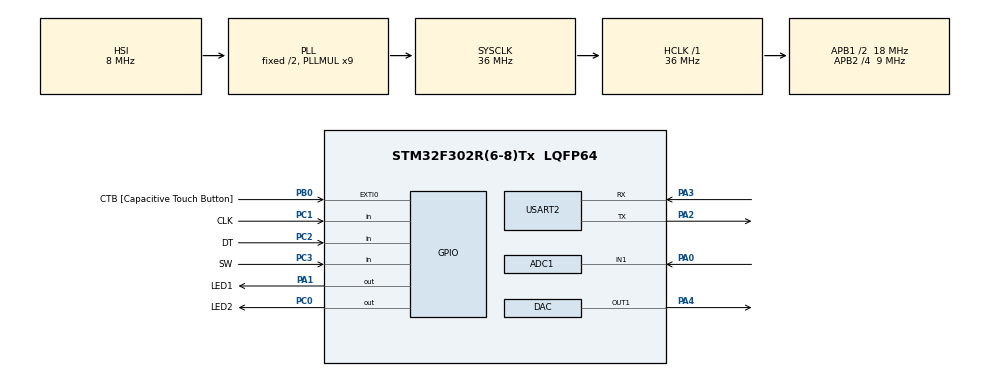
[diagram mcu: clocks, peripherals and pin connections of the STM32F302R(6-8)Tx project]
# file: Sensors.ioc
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ADC1.Channel-0\#ChannelRegularConversion=ADC_CHANNEL_1
ADC1.ContinuousConvMode=DISABLE
ADC1.NbrOfConversion=1
ADC1.NbrOfConversionFlag=1
ADC1.Offset-0\#ChannelRegularConversion=0
ADC1.OffsetNumber-0\#ChannelRegularConversion=ADC_OFFSET_NONE
ADC1.Rank-0\#ChannelRegularConversion=1
ADC1.SamplingTime-0\#ChannelRegularConversion=ADC_SAMPLETIME_1CYCLE_5
ADC1.SequencerNbRanks=1
ADC1.master=1
Mcu.Family=STM32F3
Mcu.Name=STM32F302R(6-8)Tx
Mcu.Package=LQFP64
NVIC.EXTI0_IRQn=true\:0\:0\:false\:false\:true\:true\:true\:true
NVIC.PriorityGroup=NVIC_PRIORITYGROUP_4
PA0.Mode=IN1-Single-Ended
PA0.Signal=ADC1_IN1
PA1.GPIO_Label=LED1
PA1.Signal=GPIO_Output
PA2.Mode=Asynchronous
PA2.Signal=USART2_TX
PA3.Mode=Asynchronous
PA3.Signal=USART2_RX
PA4.Signal=COMP_DAC1_group
PB0.GPIO_Label=CTB [Capacitive Touch Button]
PB0.GPIO_PuPd=GPIO_PULLUP
PB0.Signal=GPXTI0
PC0.GPIO_Label=LED2
PC0.Signal=GPIO_Output
PC1.GPIO_Label=CLK
PC1.GPIO_PuPd=GPIO_PULLUP
PC1.Signal=GPIO_Input
PC2.GPIO_Label=DT
PC2.GPIO_PuPd=GPIO_PULLUP
PC2.Signal=GPIO_Input
PC3.GPIO_Label=SW
PC3.GPIO_PuPd=GPIO_PULLUP
PC3.Signal=GPIO_Input
ProjectManager.HeapSize=0x200
ProjectManager.StackSize=0x400
ProjectManager.TargetToolchain=STM32CubeIDE
RCC.AHBFreq_Value=36000000
RCC.APB1CLKDivider=RCC_HCLK_DIV2
RCC.APB1Freq_Value=18000000
RCC.APB1TimFreq_Value=36000000
RCC.APB2CLKDivider=RCC_HCLK_DIV4
RCC.APB2Freq_Value=9000000
RCC.APB2TimFreq_Value=18000000
RCC.CortexFreq_Value=36000000
RCC.HCLKFreq_Value=36000000
RCC.HSE_VALUE=8000000
RCC.HSI_VALUE=8000000
RCC.LSE_VALUE=32768
RCC.PLLMUL=RCC_PLL_MUL9
RCC.SYSCLKFreq_VALUE=36000000
RCC.SYSCLKSourceVirtual=RCC_SYSCLKSOURCE_PLLCLK
RCC.USBFreq_Value=36000000
SH.COMP_DAC1_group.0=DAC_OUT1,DAC_OUT1
USART2.VirtualMode-Asynchronous=VM_ASYNC
board=custom

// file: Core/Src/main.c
/* USER CODE BEGIN Header */
/**
  ******************************************************************************
  * @file           : main.c
  * @brief          : Main program body
  ******************************************************************************
  * @attention
  *
  * Copyright (c) 2024 STMicroelectronics.
  * All rights reserved.
  *
  * This software is licensed under terms that can be found in the LICENSE file
  * in the root directory of this software component.
  * If no LICENSE file comes with this software, it is provided AS-IS.
  *
  ******************************************************************************
  */
/* USER CODE END Header */
#include "main.h"

/* USER CODE BEGIN Includes */
#include <stdio.h>
#include <stdbool.h>
/* USER CODE END Includes */

ADC_HandleTypeDef hadc1;

DAC_HandleTypeDef hdac;

UART_HandleTypeDef huart2;

/* USER CODE BEGIN PV */
char message[40];

double raw = 0.0;
double max = 0.0;
bool switched = false;
uint32_t raws[2];
int count = 0;

int previous_pin, current_pin;
/* USER CODE END PV */

void SystemClock_Config(void);
static void MX_GPIO_Init(void);
static void MX_ADC1_Init(void);
static void MX_USART2_UART_Init(void);
static void MX_DAC_Init(void);

int main(void)
{

  /* MCU Configuration--------------------------------------------------------*/

  /* Reset of all peripherals, Initializes the Flash interface and the Systick. */
  HAL_Init();

  /* Configure the system clock */
  SystemClock_Config();

  /* Initialize all configured peripherals */
  MX_GPIO_Init();
  MX_ADC1_Init();
  MX_USART2_UART_Init();
  MX_DAC_Init();
  /* USER CODE BEGIN 2 */
//  int color = 1000;
  HAL_DAC_Init(&hdac);
  HAL_DAC_Start(&hdac, DAC_CHANNEL_1);

  previous_pin = HAL_GPIO_ReadPin (CLK_GPIO_Port, CLK_Pin);

//  HAL_ADC_Start_DMA(&hadc1, raws, 2);
  /* USER CODE END 2 */

  /* Infinite loop */
  /* USER CODE BEGIN WHILE */
  while (1)
  {
	  if (!HAL_GPIO_ReadPin (SW_GPIO_Port, SW_Pin)) {
		  count = 0;
		  HAL_GPIO_WritePin(LED1_GPIO_Port, LED1_Pin, GPIO_PIN_RESET);
		  HAL_GPIO_WritePin(LED2_GPIO_Port, LED2_Pin, GPIO_PIN_RESET);
		  sprintf (message, "%d\r\n", count);
		  HAL_UART_Transmit (&huart2, (uint8_t*) message, 40, 100);
	  }

	  current_pin = HAL_GPIO_ReadPin (CLK_GPIO_Port, CLK_Pin);
	  if (current_pin != previous_pin) {
		  if (HAL_GPIO_ReadPin (DT_GPIO_Port, DT_Pin) != current_pin) {
			  if (!switched) {
				  switched = true;
				  count++;
			  } else {
				  switched = false;
			  }
			  HAL_GPIO_WritePin(LED1_GPIO_Port, LED1_Pin, GPIO_PIN_SET);
			  HAL_GPIO_WritePin(LED2_GPIO_Port, LED2_Pin, GPIO_PIN_RESET);
		  } else {
			  if (!switched) {
				  switched = true;
				  count--;
			  } else {
				  switched = false;
			  }
			  HAL_GPIO_WritePin(LED1_GPIO_Port, LED1_Pin, GPIO_PIN_RESET);
			  HAL_GPIO_WritePin(LED2_GPIO_Port, LED2_Pin, GPIO_PIN_SET);
		  }
		  sprintf (message, "%d\r\n", count);
		  HAL_UART_Transmit (&huart2, (uint8_t*) message, 40, 100);

		  previous_pin = current_pin;
	  }

//	  if (!HAL_GPIO_ReadPin (CLK_GPIO_Port, CLK_Pin)) {
////		  sprintf (message, "WHYY\r\n");
////		  HAL_UART_Transmit (&huart2, (uint8_t*) message, 40, 100);
//		  current_pin = HAL_GPIO_ReadPin (CLK_GPIO_Port, CLK_Pin);
//		  		  if (current_pin != previous_pin) {
//					  if (HAL_GPIO_ReadPin (DT_GPIO_Port, DT_Pin) != current_pin) {
//						  count++;
//					  } else {
//						  count--;
//					  }
//					  sprintf (message, "%d\r\n", count);
//					  HAL_UART_Transmit (&huart2, (uint8_t*) message, 40, 100);
//
//					  previous_pin = current_pin;
//		  		  }
//	  }

//	  sprintf(message, "%d\r\n", HAL_GPIO_ReadPin (CLK_GPIO_Port, CLK_Pin));
//	    HAL_UART_Transmit (&huart2, (uint8_t*) message, 40, 100);
//	  if (!HAL_GPIO_ReadPin (DT_GPIO_Port, DT_Pin)) {
////		  sprintf (message, "no shot\r\n");
////		  HAL_UART_Transmit (&huart2, (uint8_t*) message, 40, 100);
//	  }

//	  if (HAL_GPIO_ReadPin (CLK_GPIO_Port, CLK_Pin)) {
//		  if (switched) {
//			  switched = false;
//
//
//		  }
//
//
////		  if (!HAL_GPIO_ReadPin (DT_GPIO_Port, DT_Pin)) {
////			  count++;
////			  HAL_GPIO_WritePin(LED1_GPIO_Port, LED1_Pin, GPIO_PIN_SET);
////			  HAL_GPIO_WritePin(LED2_GPIO_Port, LED2_Pin, GPIO_PIN_RESET);
////		  } else {
////			  count--;
////			  HAL_GPIO_WritePin(LED1_GPIO_Port, LED1_Pin, GPIO_PIN_RESET);
////			  HAL_GPIO_WritePin(LED2_GPIO_Port, LED2_Pin, GPIO_PIN_SET);
////		  }
////		  sprintf (message, "%d\r\n", count);
////		  HAL_UART_Transmit (&huart2, (uint8_t*) message, 40, 100);
//	  } else {
//		  switched = true;
////		  sprintf (message, "AHHHHHHHHHHHHHHH\r\n");
////		  		  HAL_UART_Transmit (&huart2, (uint8_t*) message, 40, 100);
//	  }

//	  sprintf (message, "%d\r\n", count);
//	  HAL_UART_Transmit (&huart2, (uint8_t*) message, 40, 100);

    /* USER CODE END WHILE */

    /* USER CODE BEGIN 3 */
	  // WHITE LED
//	  HAL_GPIO_WritePin(LED_GPIO_Port, LED_Pin, GPIO_PIN_SET);
//	  HAL_Delay(500);
//	  HAL_GPIO_WritePin(LED_GPIO_Port, LED_Pin, GPIO_PIN_RESET);
//	  HAL_Delay(500);

	  //RGB LED
//	  while (color <= 3000) {
//		  HAL_DAC_SetValue(&hdac, DAC_CHANNEL_1, DAC_ALIGN_12B_R, color++);
//		  sprintf(message, "%d\r\n", color);
//		  HAL_UART_Transmit(&huart2, (uint8_t *) message, 20, 100);
//		  HAL_Delay(5);
//	  }
//
//	  while (color >= 1000) {
//		  HAL_DAC_SetValue(&hdac, DAC_CHANNEL_1, DAC_ALIGN_12B_R, color--);
//		  sprintf(message, "%d\r\n", color);
//		  HAL_UART_Transmit(&huart2, (uint8_t *) message, 20, 100);
//		  HAL_Delay(5);
//	  }

//	  if (HAL_GPIO_ReadPin (CTB1_GPIO_Port, CTB1_Pin)) {
//		  if (!pressed) {
//			  count++;
//			  pressed = 1;
//		  }
////		  sprintf(message, "WOAH\r\n");
////		  HAL_UART_Transmit(&huart2, (uint8_t *) message, 20, 100);
//	  } else {
//		  pressed = 0;
//	  }

//	  HAL_ADC_Start(&hadc1);
//	  HAL_ADC_PollForConversion(&hadc1, 100);
//	  raw = ((double) HAL_ADC_GetValue(&hadc1) * -1) + 4095;
//
//	  HAL_DAC_SetValue(&hdac, DAC_CHANNEL_1, DAC_ALIGN_12B_R, raw);
//
//	  sprintf (message, "%f\r\n", raw);
//	  HAL_UART_Transmit (&huart2, (uint8_t*) message, 40, 100);

//	  HAL_ADC_Start_DMA(&hadc1, raws, 2);
//	  HAL_ADC_PollForConversion(&hadc1, 100);
//	  raw = (double) HAL_ADC_GetValue(&hadc1);
////	  raw = ((double) HAL_ADC_GetValue(&hadc1) * 0.0683761) + 2960;
//	  if (raw > max)	max = raw;
//	  HAL_DAC_SetValue(&hdac, DAC_CHANNEL_1, DAC_ALIGN_12B_R, raw);
//	  raw = ((500 * raw) / 1024) / 10;
//	  raw = raw / 100;

//HAL_ADC_Start_DMA(&hadc1, raws, 2);
//	  sprintf(message, "%f\r\n", (raw / 4095) * 16.5);
//	  sprintf(message, "%d  %d  %d\r\n", count, raws[0], raws[1]);
//	  HAL_UART_Transmit(&huart2, (uint8_t *) message, 40, 100);
  }
  /* USER CODE END 3 */
}

void SystemClock_Config(void)
{
  RCC_OscInitTypeDef RCC_OscInitStruct = {0};
  RCC_ClkInitTypeDef RCC_ClkInitStruct = {0};
  RCC_PeriphCLKInitTypeDef PeriphClkInit = {0};

  /** Initializes the RCC Oscillators according to the specified parameters
  * in the RCC_OscInitTypeDef structure.
  */
  RCC_OscInitStruct.OscillatorType = RCC_OSCILLATORTYPE_HSI;
  RCC_OscInitStruct.HSIState = RCC_HSI_ON;
  RCC_OscInitStruct.HSICalibrationValue = RCC_HSICALIBRATION_DEFAULT;
  RCC_OscInitStruct.PLL.PLLState = RCC_PLL_ON;
  RCC_OscInitStruct.PLL.PLLSource = RCC_PLLSOURCE_HSI;
  RCC_OscInitStruct.PLL.PLLMUL = RCC_PLL_MUL9;
  if (HAL_RCC_OscConfig(&RCC_OscInitStruct) != HAL_OK)
  {
    Error_Handler();
  }

  /** Initializes the CPU, AHB and APB buses clocks
  */
  RCC_ClkInitStruct.ClockType = RCC_CLOCKTYPE_HCLK|RCC_CLOCKTYPE_SYSCLK
                              |RCC_CLOCKTYPE_PCLK1|RCC_CLOCKTYPE_PCLK2;
  RCC_ClkInitStruct.SYSCLKSource = RCC_SYSCLKSOURCE_PLLCLK;
  RCC_ClkInitStruct.AHBCLKDivider = RCC_SYSCLK_DIV1;
  RCC_ClkInitStruct.APB1CLKDivider = RCC_HCLK_DIV2;
  RCC_ClkInitStruct.APB2CLKDivider = RCC_HCLK_DIV4;

  if (HAL_RCC_ClockConfig(&RCC_ClkInitStruct, FLASH_LATENCY_1) != HAL_OK)
  {
    Error_Handler();
  }
  PeriphClkInit.PeriphClockSelection = RCC_PERIPHCLK_ADC1;
  PeriphClkInit.Adc1ClockSelection = RCC_ADC1PLLCLK_DIV1;

  if (HAL_RCCEx_PeriphCLKConfig(&PeriphClkInit) != HAL_OK)
  {
    Error_Handler();
  }
}

static void MX_ADC1_Init(void)
{

  ADC_ChannelConfTypeDef sConfig = {0};

  /** Common config
  */
  hadc1.Instance = ADC1;
  hadc1.Init.ClockPrescaler = ADC_CLOCK_ASYNC_DIV1;
  hadc1.Init.Resolution = ADC_RESOLUTION_12B;
  hadc1.Init.ScanConvMode = ADC_SCAN_DISABLE;
  hadc1.Init.ContinuousConvMode = DISABLE;
  hadc1.Init.DiscontinuousConvMode = DISABLE;
  hadc1.Init.ExternalTrigConvEdge = ADC_EXTERNALTRIGCONVEDGE_NONE;
  hadc1.Init.ExternalTrigConv = ADC_SOFTWARE_START;
  hadc1.Init.DataAlign = ADC_DATAALIGN_RIGHT;
  hadc1.Init.NbrOfConversion = 1;
  hadc1.Init.DMAContinuousRequests = DISABLE;
  hadc1.Init.EOCSelection = ADC_EOC_SINGLE_CONV;
  hadc1.Init.LowPowerAutoWait = DISABLE;
  hadc1.Init.Overrun = ADC_OVR_DATA_OVERWRITTEN;
  if (HAL_ADC_Init(&hadc1) != HAL_OK)
  {
    Error_Handler();
  }

  /** Configure Regular Channel
  */
  sConfig.Channel = ADC_CHANNEL_1;
  sConfig.Rank = ADC_REGULAR_RANK_1;
  sConfig.SingleDiff = ADC_SINGLE_ENDED;
  sConfig.SamplingTime = ADC_SAMPLETIME_1CYCLE_5;
  sConfig.OffsetNumber = ADC_OFFSET_NONE;
  sConfig.Offset = 0;
  if (HAL_ADC_ConfigChannel(&hadc1, &sConfig) != HAL_OK)
  {
    Error_Handler();
  }

}

static void MX_DAC_Init(void)
{

  DAC_ChannelConfTypeDef sConfig = {0};

  /** DAC Initialization
  */
  hdac.Instance = DAC;
  if (HAL_DAC_Init(&hdac) != HAL_OK)
  {
    Error_Handler();
  }

  /** DAC channel OUT1 config
  */
  sConfig.DAC_Trigger = DAC_TRIGGER_NONE;
  sConfig.DAC_OutputBuffer = DAC_OUTPUTBUFFER_ENABLE;
  if (HAL_DAC_ConfigChannel(&hdac, &sConfig, DAC_CHANNEL_1) != HAL_OK)
  {
    Error_Handler();
  }

}

static void MX_USART2_UART_Init(void)
{

  huart2.Instance = USART2;
  huart2.Init.BaudRate = 38400;
  huart2.Init.WordLength = UART_WORDLENGTH_8B;
  huart2.Init.StopBits = UART_STOPBITS_1;
  huart2.Init.Parity = UART_PARITY_NONE;
  huart2.Init.Mode = UART_MODE_TX_RX;
  huart2.Init.HwFlowCtl = UART_HWCONTROL_NONE;
  huart2.Init.OverSampling = UART_OVERSAMPLING_16;
  huart2.Init.OneBitSampling = UART_ONE_BIT_SAMPLE_DISABLE;
  huart2.AdvancedInit.AdvFeatureInit = UART_ADVFEATURE_NO_INIT;
  if (HAL_UART_Init(&huart2) != HAL_OK)
  {
    Error_Handler();
  }

}

static void MX_GPIO_Init(void)
{
  GPIO_InitTypeDef GPIO_InitStruct = {0};

  /* GPIO Ports Clock Enable */
  __HAL_RCC_GPIOC_CLK_ENABLE();
  __HAL_RCC_GPIOA_CLK_ENABLE();
  __HAL_RCC_GPIOB_CLK_ENABLE();

  /*Configure GPIO pin Output Level */
  HAL_GPIO_WritePin(LED2_GPIO_Port, LED2_Pin, GPIO_PIN_RESET);

  /*Configure GPIO pin Output Level */
  HAL_GPIO_WritePin(LED1_GPIO_Port, LED1_Pin, GPIO_PIN_RESET);

  /*Configure GPIO pin : LED2_Pin */
  GPIO_InitStruct.Pin = LED2_Pin;
  GPIO_InitStruct.Mode = GPIO_MODE_OUTPUT_PP;
  GPIO_InitStruct.Pull = GPIO_NOPULL;
  GPIO_InitStruct.Speed = GPIO_SPEED_FREQ_LOW;
  HAL_GPIO_Init(LED2_GPIO_Port, &GPIO_InitStruct);

  /*Configure GPIO pins : CLK_Pin DT_Pin SW_Pin */
  GPIO_InitStruct.Pin = CLK_Pin|DT_Pin|SW_Pin;
  GPIO_InitStruct.Mode = GPIO_MODE_INPUT;
  GPIO_InitStruct.Pull = GPIO_PULLUP;
  HAL_GPIO_Init(GPIOC, &GPIO_InitStruct);

  /*Configure GPIO pin : LED1_Pin */
  GPIO_InitStruct.Pin = LED1_Pin;
  GPIO_InitStruct.Mode = GPIO_MODE_OUTPUT_PP;
  GPIO_InitStruct.Pull = GPIO_NOPULL;
  GPIO_InitStruct.Speed = GPIO_SPEED_FREQ_LOW;
  HAL_GPIO_Init(LED1_GPIO_Port, &GPIO_InitStruct);

  /*Configure GPIO pin : CTB_Pin */
  GPIO_InitStruct.Pin = CTB_Pin;
  GPIO_InitStruct.Mode = GPIO_MODE_IT_RISING;
  GPIO_InitStruct.Pull = GPIO_PULLUP;
  HAL_GPIO_Init(CTB_GPIO_Port, &GPIO_InitStruct);

  /* EXTI interrupt init*/
  HAL_NVIC_SetPriority(EXTI0_IRQn, 0, 0);
  HAL_NVIC_EnableIRQ(EXTI0_IRQn);

}

void Error_Handler(void)
{
  __disable_irq();
  while (1)
  {
  }
}
